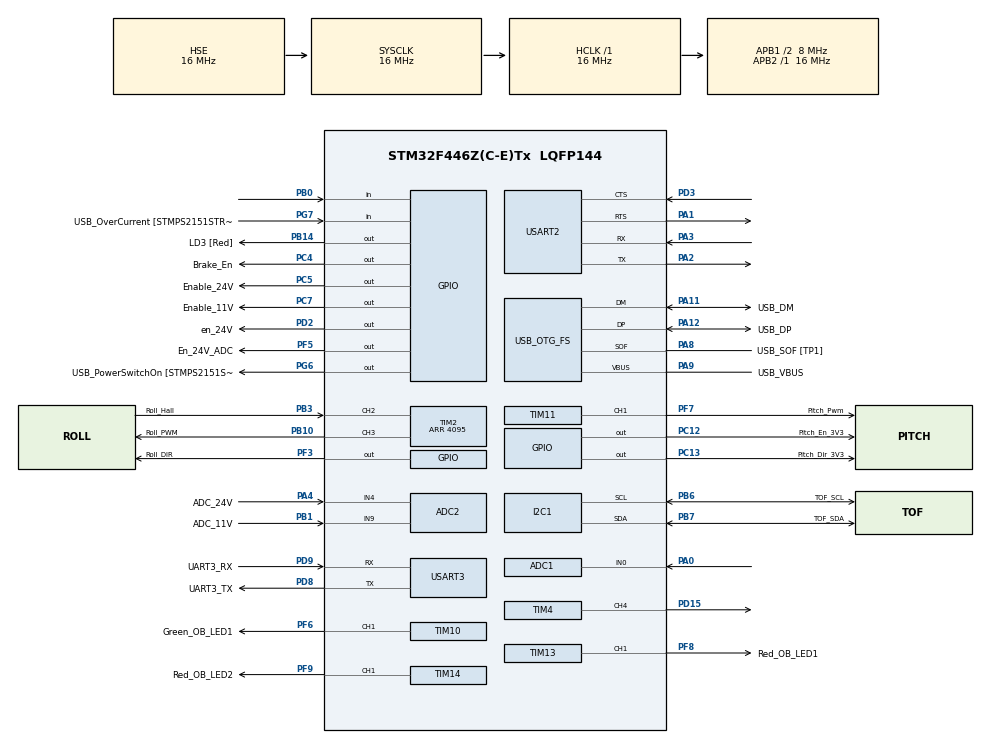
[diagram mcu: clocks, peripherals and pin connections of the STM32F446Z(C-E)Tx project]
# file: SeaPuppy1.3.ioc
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ADC1.Channel-1\#ChannelRegularConversion=ADC_CHANNEL_0
ADC1.ClockPrescaler=ADC_CLOCK_SYNC_PCLK_DIV6
ADC1.NbrOfConversionFlag=1
ADC1.Rank-1\#ChannelRegularConversion=1
ADC1.SamplingTime-1\#ChannelRegularConversion=ADC_SAMPLETIME_3CYCLES
ADC1.master=1
ADC2.Channel-4\#ChannelRegularConversion=ADC_CHANNEL_4
ADC2.ClockPrescaler=ADC_CLOCK_SYNC_PCLK_DIV6
ADC2.NbrOfConversionFlag=1
ADC2.Rank-4\#ChannelRegularConversion=1
ADC2.SamplingTime-4\#ChannelRegularConversion=ADC_SAMPLETIME_3CYCLES
Dma.Request0=USART3_RX
Dma.Request1=USART3_TX
Dma.USART3_RX.0.Direction=DMA_PERIPH_TO_MEMORY
Dma.USART3_RX.0.FIFOMode=DMA_FIFOMODE_DISABLE
Dma.USART3_RX.0.Instance=DMA1_Stream1
Dma.USART3_RX.0.MemDataAlignment=DMA_MDATAALIGN_BYTE
Dma.USART3_RX.0.MemInc=DMA_MINC_ENABLE
Dma.USART3_RX.0.Mode=DMA_CIRCULAR
Dma.USART3_RX.0.PeriphDataAlignment=DMA_PDATAALIGN_BYTE
Dma.USART3_RX.0.PeriphInc=DMA_PINC_DISABLE
Dma.USART3_RX.0.Priority=DMA_PRIORITY_VERY_HIGH
Dma.USART3_TX.1.Direction=DMA_MEMORY_TO_PERIPH
Dma.USART3_TX.1.FIFOMode=DMA_FIFOMODE_DISABLE
Dma.USART3_TX.1.Instance=DMA1_Stream3
Dma.USART3_TX.1.MemDataAlignment=DMA_MDATAALIGN_BYTE
Dma.USART3_TX.1.MemInc=DMA_MINC_ENABLE
Dma.USART3_TX.1.Mode=DMA_NORMAL
Dma.USART3_TX.1.PeriphDataAlignment=DMA_PDATAALIGN_BYTE
Dma.USART3_TX.1.PeriphInc=DMA_PINC_DISABLE
Dma.USART3_TX.1.Priority=DMA_PRIORITY_VERY_HIGH
FREERTOS.Tasks01=defaultTask,24,3000,StartDefaultTask,Default,NULL,Static,defaultTaskBuffer,defaultTaskControlBlock;task_ros_spin,40,3000,start_task_ros_spin,Default,NULL,Static,task_ros_spinBuffer,task_ros_spinControlBlock;task_sensors,8,128,start_task_sensors,Default,NULL,Static,task_sensorsBuffer,task_sensorsControlBlock;task_actuators,8,128,start_task_actuators,Default,NULL,Static,task_actuatorsBuffer,task_actuatorsControlBlock;task_watchdog,8,128,start_task_watchdog,Default,NULL,Static,task_watchdogBuffer,task_watchdogControlBlock
FREERTOS.configUSE_NEWLIB_REENTRANT=1
Mcu.Family=STM32F4
Mcu.Name=STM32F446Z(C-E)Tx
Mcu.Package=LQFP144
NVIC.DMA1_Stream1_IRQn=true\:5\:0\:false\:false\:true\:true\:false\:true\:true
NVIC.DMA1_Stream3_IRQn=true\:5\:0\:false\:false\:true\:true\:false\:true\:true
NVIC.I2C1_EV_IRQn=true\:5\:0\:false\:false\:true\:true\:true\:true\:true
NVIC.PriorityGroup=NVIC_PRIORITYGROUP_4
NVIC.TIM1_UP_TIM10_IRQn=true\:15\:0\:false\:false\:true\:false\:false\:true\:true
NVIC.TIM2_IRQn=true\:5\:0\:false\:false\:true\:true\:true\:true\:true
NVIC.TimeBase=TIM1_UP_TIM10_IRQn
NVIC.TimeBaseIP=TIM1
NVIC.USART3_IRQn=true\:5\:0\:false\:false\:true\:true\:true\:true\:true
PA0-WKUP.Signal=ADCx_IN0
PA1.Mode=CTS_RTS
PA1.Signal=USART2_RTS
PA11.GPIO_Label=USB_DM
PA11.Mode=Device_Only
PA11.Signal=USB_OTG_FS_DM
PA12.GPIO_Label=USB_DP
PA12.Mode=Device_Only
PA12.Signal=USB_OTG_FS_DP
PA13.GPIO_Label=TMS
PA13.Mode=Serial_Wire
PA13.Signal=SYS_JTMS-SWDIO
PA14.GPIO_Label=TCK
PA14.Mode=Serial_Wire
PA14.Signal=SYS_JTCK-SWCLK
PA2.Mode=Asynchronous
PA2.Signal=USART2_TX
PA3.Mode=Asynchronous
PA3.Signal=USART2_RX
PA4.GPIO_Label=ADC_24V
PA4.Signal=ADCx_IN4
PA8.GPIO_Label=USB_SOF [TP1]
PA8.Mode=Activate_SOF_FS
PA8.Signal=USB_OTG_FS_SOF
PA9.GPIO_Label=USB_VBUS
PA9.Mode=Activate_VBUS
PA9.Signal=USB_OTG_FS_VBUS
PB0.Signal=GPIO_Input
PB1.GPIO_Label=ADC_11V
PB1.Signal=ADCx_IN9
PB10.GPIO_Label=Roll_PWM
PB10.Signal=S_TIM2_CH3
PB14.GPIO_Label=LD3 [Red]
PB14.Signal=GPIO_Output
PB3.GPIO_Label=Roll_Hall
PB3.Signal=S_TIM2_CH2
PB6.GPIO_Label=TOF_SCL
PB6.Mode=I2C
PB6.Signal=I2C1_SCL
PB7.GPIO_Label=TOF_SDA
PB7.Mode=I2C
PB7.Signal=I2C1_SDA
PC12.GPIO_Label=Pitch_En_3V3
PC12.Signal=GPIO_Output
PC13.GPIO_Label=Pitch_Dir_3V3
PC13.Signal=GPIO_Output
PC14-OSC32_IN.Signal=RCC_OSC32_IN
PC15-OSC32_OUT.Signal=RCC_OSC32_OUT
PC4.GPIO_Label=Brake_En
PC4.Signal=GPIO_Output
PC5.GPIO_Label=Enable_24V
PC5.Signal=GPIO_Output
PC7.GPIO_Label=Enable_11V
PC7.Signal=GPIO_Output
PD15.Signal=S_TIM4_CH4
PD2.GPIO_Label=en_24V
PD2.Signal=GPIO_Output
PD3.Mode=CTS_RTS
PD3.Signal=USART2_CTS
PD8.GPIO_Label=UART3_TX
PD8.Mode=Asynchronous
PD8.Signal=USART3_TX
PD9.GPIO_Label=UART3_RX
PD9.Mode=Asynchronous
PD9.Signal=USART3_RX
PF3.GPIO_Label=Roll_DIR
PF3.Signal=GPIO_Output
PF5.GPIO_Label=En_24V_ADC
PF5.Signal=GPIO_Output
PF6.GPIO_Label=Green_OB_LED1
PF6.Signal=S_TIM10_CH1
PF7.GPIO_Label=Pitch_Pwm
PF7.Signal=S_TIM11_CH1
PF8.GPIO_Label=Red_OB_LED1
PF8.Signal=S_TIM13_CH1
PF9.GPIO_Label=Red_OB_LED2
PF9.Signal=S_TIM14_CH1
PG6.GPIO_Label=USB_PowerSwitchOn [STMPS2151STR_EN]
PG6.Signal=GPIO_Output
PG7.GPIO_Label=USB_OverCurrent [STMPS2151STR_FAULT]
PG7.Signal=GPIO_Input
PH0-OSC_IN.GPIO_Label=MCO [STM32F103CBT6_PA8]
PH0-OSC_IN.Mode=HSE-External-Oscillator
PH0-OSC_IN.Signal=RCC_OSC_IN
PH1-OSC_OUT.Mode=HSE-External-Oscillator
PH1-OSC_OUT.Signal=RCC_OSC_OUT
ProjectManager.HeapSize=0x200
ProjectManager.StackSize=0x400
ProjectManager.TargetToolchain=STM32CubeIDE
RCC.48MHZClocksFreq_Value=24000000
RCC.AHBFreq_Value=16000000
RCC.APB1CLKDivider=RCC_HCLK_DIV2
RCC.APB1Freq_Value=8000000
RCC.APB1TimFreq_Value=16000000
RCC.APB2Freq_Value=16000000
RCC.APB2TimFreq_Value=16000000
RCC.CortexFreq_Value=16000000
RCC.HCLKFreq_Value=16000000
RCC.HSE_VALUE=16000000
RCC.HSI_VALUE=16000000
RCC.PLLM=8
RCC.PLLMUL=RCC_PLL_MUL9
RCC.PLLN=72
RCC.PLLQ=3
RCC.PRESCALERUSB=RCC_USBCLKSOURCE_PLL_DIV1_5
RCC.SYSCLKFreq_VALUE=16000000
RCC.SYSCLKSource=RCC_SYSCLKSOURCE_HSE
RCC.SYSCLKSourceVirtual=RCC_SYSCLKSOURCE_PLLCLK
RCC.USBFreq_Value=48000000
RCC.VCOOutputFreq_Value=144000000
SH.ADCx_IN0.0=ADC1_IN0,IN0
SH.ADCx_IN4.0=ADC2_IN4,IN4
SH.ADCx_IN9.0=ADC2_IN9,IN9
SH.S_TIM10_CH1.0=TIM10_CH1,PWM Generation1 CH1
SH.S_TIM11_CH1.0=TIM11_CH1,PWM Generation1 CH1
SH.S_TIM13_CH1.0=TIM13_CH1,PWM Generation1 CH1
SH.S_TIM14_CH1.0=TIM14_CH1,PWM Generation1 CH1
SH.S_TIM2_CH2.0=TIM2_CH2,Input_Capture2_from_TI2
SH.S_TIM2_CH3.0=TIM2_CH3,PWM Generation3 CH3
SH.S_TIM4_CH4.0=TIM4_CH4,PWM Generation4 CH4
TIM10.Channel=TIM_CHANNEL_1
TIM11.Channel=TIM_CHANNEL_1
TIM13.Channel=TIM_CHANNEL_1
TIM14.Channel=TIM_CHANNEL_1
TIM2.AutoReloadPreload=TIM_AUTORELOAD_PRELOAD_ENABLE
TIM2.Channel-Input_Capture2_from_TI2=TIM_CHANNEL_2
TIM2.Channel-PWM\ Generation3\ CH3=TIM_CHANNEL_3
TIM2.Period=4095
TIM2.Pulse-PWM\ Generation3\ CH3=2047
TIM4.AutoReloadPreload=TIM_AUTORELOAD_PRELOAD_ENABLE
TIM4.Channel-PWM\ Generation4\ CH4=TIM_CHANNEL_4
USART2.VirtualMode=VM_ASYNC
USART3.VirtualMode=VM_ASYNC
USB_OTG_FS.VirtualMode=Device_Only
VP_FREERTOS_VS_CMSIS_V2.Mode=CMSIS_V2
VP_SYS_VS_tim1.Mode=TIM1
VP_TIM10_VS_ClockSourceINT.Mode=Enable_Timer
VP_TIM11_VS_ClockSourceINT.Mode=Enable_Timer
VP_TIM13_VS_ClockSourceINT.Mode=Enable_Timer
VP_TIM14_VS_ClockSourceINT.Mode=Enable_Timer
VP_TIM2_VS_ClockSourceINT.Mode=Internal
VP_TIM4_VS_ClockSourceINT.Mode=Internal
board=NUCLEO-F446ZE

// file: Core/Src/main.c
/* USER CODE BEGIN Header */
/**
  ******************************************************************************
  * @file           : main.c
  * @brief          : Main program body
  ******************************************************************************
  * @attention
  *
  * Copyright (c) 2025 STMicroelectronics.
  * All rights reserved.
  *
  * This software is licensed under terms that can be found in the LICENSE file
  * in the root directory of this software component.
  * If no LICENSE file comes with this software, it is provided AS-IS.
  *
  ******************************************************************************
  */
/* USER CODE END Header */
#include "main.h"
#include "cmsis_os.h"

/* USER CODE BEGIN Includes */

#include <rcl/error_handling.h>
#include <rcl/rcl.h>
#include <rclc/executor.h>
#include <rclc/rclc.h>
#include <rmw_microros/rmw_microros.h>
#include <rmw_microxrcedds_c/config.h>
#include <std_msgs/msg/int32.h>
#include <std_msgs/msg/string.h>
#include <std_msgs/msg/u_int16.h>
#include <uveec_custom_interfaces/msg/raspberry_sensors_interface.h>
#include <uveec_custom_interfaces/msg/stm_sensors_interface.h>
#include <uxr/client/transport.h>

// Micro-ROS definitions

// RCL return Check
#define RCCHECK(fn) { rcl_ret_t temp_rc = fn; if((temp_rc != RCL_RET_OK)){error_loop();}}
#define RCSOFTCHECK(fn) { rcl_ret_t temp_rc = fn; if((temp_rc != RCL_RET_OK)){error_loop();}}

// TOF sensor
#include "VL53L0X.h"
#include "stdio.h"
/* USER CODE END Includes */

typedef StaticTask_t osStaticThreadDef_t;

ADC_HandleTypeDef hadc1;
ADC_HandleTypeDef hadc2;

I2C_HandleTypeDef hi2c1;

TIM_HandleTypeDef htim2;
TIM_HandleTypeDef htim4;
TIM_HandleTypeDef htim10;
TIM_HandleTypeDef htim11;
TIM_HandleTypeDef htim13;
TIM_HandleTypeDef htim14;

UART_HandleTypeDef huart2;
UART_HandleTypeDef huart3;
DMA_HandleTypeDef hdma_usart3_rx;
DMA_HandleTypeDef hdma_usart3_tx;

PCD_HandleTypeDef hpcd_USB_OTG_FS;

/* Definitions for defaultTask */
osThreadId_t defaultTaskHandle;
uint32_t defaultTaskBuffer[ 3000 ];
osStaticThreadDef_t defaultTaskControlBlock;
const osThreadAttr_t defaultTask_attributes = {
  .name = "defaultTask",
  .cb_mem = &defaultTaskControlBlock,
  .cb_size = sizeof(defaultTaskControlBlock),
  .stack_mem = &defaultTaskBuffer[0],
  .stack_size = sizeof(defaultTaskBuffer),
  .priority = (osPriority_t) osPriorityNormal,
};
/* Definitions for task_ros_spin */
osThreadId_t task_ros_spinHandle;
uint32_t task_ros_spinBuffer[ 3000 ];
osStaticThreadDef_t task_ros_spinControlBlock;
const osThreadAttr_t task_ros_spin_attributes = {
  .name = "task_ros_spin",
  .cb_mem = &task_ros_spinControlBlock,
  .cb_size = sizeof(task_ros_spinControlBlock),
  .stack_mem = &task_ros_spinBuffer[0],
  .stack_size = sizeof(task_ros_spinBuffer),
  .priority = (osPriority_t) osPriorityHigh,
};
/* Definitions for task_sensors */
osThreadId_t task_sensorsHandle;
uint32_t task_sensorsBuffer[ 128 ];
osStaticThreadDef_t task_sensorsControlBlock;
const osThreadAttr_t task_sensors_attributes = {
  .name = "task_sensors",
  .cb_mem = &task_sensorsControlBlock,
  .cb_size = sizeof(task_sensorsControlBlock),
  .stack_mem = &task_sensorsBuffer[0],
  .stack_size = sizeof(task_sensorsBuffer),
  .priority = (osPriority_t) osPriorityLow,
};
/* Definitions for task_actuators */
osThreadId_t task_actuatorsHandle;
uint32_t task_actuatorsBuffer[ 128 ];
osStaticThreadDef_t task_actuatorsControlBlock;
const osThreadAttr_t task_actuators_attributes = {
  .name = "task_actuators",
  .cb_mem = &task_actuatorsControlBlock,
  .cb_size = sizeof(task_actuatorsControlBlock),
  .stack_mem = &task_actuatorsBuffer[0],
  .stack_size = sizeof(task_actuatorsBuffer),
  .priority = (osPriority_t) osPriorityLow,
};
/* Definitions for task_watchdog */
osThreadId_t task_watchdogHandle;
uint32_t task_watchdogBuffer[ 128 ];
osStaticThreadDef_t task_watchdogControlBlock;
const osThreadAttr_t task_watchdog_attributes = {
  .name = "task_watchdog",
  .cb_mem = &task_watchdogControlBlock,
  .cb_size = sizeof(task_watchdogControlBlock),
  .stack_mem = &task_watchdogBuffer[0],
  .stack_size = sizeof(task_watchdogBuffer),
  .priority = (osPriority_t) osPriorityLow,
};
/* USER CODE BEGIN PV */
rcl_node_t node;
rclc_support_t support;
rcl_allocator_t allocator;
rclc_executor_t executor;

// publisher
rcl_publisher_t publisher;

uveec_custom_interfaces__msg__StmSensorsInterface pub_msg;
rcl_timer_t timer;

// subscriber
rcl_subscription_t subscriber;
uveec_custom_interfaces__msg__RaspberrySensorsInterface sub_msg;

const unsigned int timer_period = RCL_MS_TO_NS(10);
const int timeout_ms = 1000;
const float min_tof_distance = 20;
const float max_tof_distance = 140;

int32_t blinkCounter = 5;
float depthsensor = 0;
float rollHull = 0;

volatile uint32_t last_ts = 0;
volatile uint32_t last_period = 0;
volatile uint32_t pulse_count = 0;
volatile float rpm = 0;

uint16_t distance;
int pitch_direction = 0;

/* USER CODE END PV */

void SystemClock_Config(void);
static void MX_GPIO_Init(void);
static void MX_DMA_Init(void);
static void MX_USART3_UART_Init(void);
static void MX_USB_OTG_FS_PCD_Init(void);
static void MX_TIM4_Init(void);
static void MX_ADC1_Init(void);
static void MX_USART2_UART_Init(void);
static void MX_I2C1_Init(void);
static void MX_TIM2_Init(void);
static void MX_ADC2_Init(void);
static void MX_TIM10_Init(void);
static void MX_TIM11_Init(void);
static void MX_TIM13_Init(void);
static void MX_TIM14_Init(void);
void StartDefaultTask(void *argument);
void start_task_ros_spin(void *argument);
void start_task_sensors(void *argument);
void start_task_actuators(void *argument);
void start_task_watchdog(void *argument);

/* USER CODE BEGIN PFP */
void subscription_callback(const void *msgin);

void error_loop(){}
/* USER CODE END PFP */

/* USER CODE BEGIN 0 */

// subscription_callback. Triggered by subscriber executor
void subscription_callback(const void * msgin)
{
  // Cast received message to used type
  // const std_msgs__msg__Int32 * msg = (const std_msgs__msg__Int32 *)msgin;
  const uveec_custom_interfaces__msg__RaspberrySensorsInterface * raspmsg = (const uveec_custom_interfaces__msg__RaspberrySensorsInterface *) msgin;

  // Process message
  // blinkCounter = msg->data;
  blinkCounter = (int) raspmsg->depthsensor;
  pub_msg.gpslatitude = (int) raspmsg->depthsensor;
}

void timer_callback(rcl_timer_t *timer, int64_t last_call_time) {
	// static uint8_t cnt = 0;

	// if (timer != NULL) {
		// Sync micro-ROS session
		// rmw_uros_sync_session(timeout_ms);

		// Toggle LED every 50 cycles (approximately every 0.5 seconds)
		// if (cnt == 0)
			// HAL_GPIO_TogglePin(LD2_GPIO_Port, LD2_Pin);
		// cnt = (cnt + 1) % 50;

		// pub_msg.data++;
		// TODO pub_msg.gpslatitude = 0;
		// TODO pub_msg.gpslongitude = 1;
		// TODO pub_msg.micropumpencoder = depthsensor;
		// TODO pub_msg.pitchencoder = 2;
		// TODO pub_msg.rollencoder = 3;

		// Publish the message
		// rcl_publish(&publisher, &pub_msg, NULL);
		// rcl_publish(&dist_publisher, &dist_msg, NULL);

		// Reinitialize watchdog timer
		// HAL_IWDG_Init(&hiwdg);
	// }
}

// Using TIM2_CH1 for FG signal
void HAL_TIM_IC_CaptureCallback(TIM_HandleTypeDef *htim) {
    if(htim->Channel == HAL_TIM_ACTIVE_CHANNEL_1) {
        static uint32_t lastCapture = 0;
        uint32_t now = HAL_TIM_ReadCapturedValue(htim, TIM_CHANNEL_1);
        uint32_t period = (now >= lastCapture) ? (now - lastCapture) : (0xFFFF - lastCapture + now);
        lastCapture = now;

        float freq = (float)HAL_RCC_GetPCLK1Freq() / (htim->Init.Prescaler + 1) / period;
        rpm = (60.0f * freq) / 9.0f;
        rpm = 1;
        // store rpm somewhere
    }
}

float get_angle_deg(void) {
    // coarse sector:
    uint32_t sector = (pulse_count % 9);
    // fraction interpolation:
    uint32_t now = HAL_GetTick();
    uint32_t elapsed = (now >= last_ts) ? (now - last_ts) : (0xFFFFFFFF - last_ts + now);
    float fraction = (last_period > 0) ? ((float)elapsed / (float)last_period) : 0.0f;
    if (fraction > 1.0f) fraction = 1.0f;
    return (int32_t) rpm;
}

int change_pitch_direction(int dir) {
	if (pitch_direction == 0 && dir == 1) { // pitch motor is getting closer to tof
		//HAL_TIM_PWM_Stop(&htim4, TIM_CHANNEL_4);
		HAL_TIM_PWM_Stop(&htim11, TIM_CHANNEL_1);
		osDelay(100);
		HAL_GPIO_WritePin(Pitch_Dir_3V3_GPIO_Port, Pitch_Dir_3V3_Pin, GPIO_PIN_SET);
		//HAL_GPIO_WritePin(LD1_GPIO_Port, LD1_Pin, GPIO_PIN_SET);
		osDelay(100);
		//HAL_TIM_PWM_Start(&htim4, TIM_CHANNEL_4);
		HAL_TIM_PWM_Start(&htim11, TIM_CHANNEL_1);
		pitch_direction = 1;
		return 1;
	} else if (pitch_direction == 1 && dir == 0) { // pitch motor is getting further from tof
		//HAL_TIM_PWM_Stop(&htim4, TIM_CHANNEL_4);
		HAL_TIM_PWM_Stop(&htim11, TIM_CHANNEL_1);
		osDelay(100);
		HAL_GPIO_WritePin(Pitch_Dir_3V3_GPIO_Port, Pitch_Dir_3V3_Pin, GPIO_PIN_RESET);
		//HAL_GPIO_WritePin(LD1_GPIO_Port, LD1_Pin, GPIO_PIN_RESET);
		osDelay(100);
		//HAL_TIM_PWM_Start(&htim4, TIM_CHANNEL_4);
		HAL_TIM_PWM_Start(&htim11, TIM_CHANNEL_1);
		pitch_direction = 0;
		return 0;
	}
	return -1;
}

/* USER CODE END 0 */

int main(void)
{

  /* USER CODE BEGIN 1 */
	blinkCounter = 10;

  /* USER CODE END 1 */

  /* MCU Configuration--------------------------------------------------------*/

  /* Reset of all peripherals, Initializes the Flash interface and the Systick. */
  HAL_Init();

  /* Configure the system clock */
  SystemClock_Config();

  /* Initialize all configured peripherals */
  MX_GPIO_Init();
  MX_DMA_Init();
  MX_USART3_UART_Init();
  MX_USB_OTG_FS_PCD_Init();
  MX_TIM4_Init();
  MX_ADC1_Init();
  MX_USART2_UART_Init();
  MX_I2C1_Init();
  MX_TIM2_Init();
  MX_ADC2_Init();
  MX_TIM10_Init();
  MX_TIM11_Init();
  MX_TIM13_Init();
  MX_TIM14_Init();
  /* USER CODE BEGIN 2 */

  //Onboard LED Green(D2)
  //HAL_TIM_PWM_Start(&htim11, TIM_CHANNEL_1);
  //TIM11->CCR1 = 0;

  //Onboard LED Red(D3)
  HAL_TIM_PWM_Start(&htim13, TIM_CHANNEL_1);
  TIM13->CCR1 = 0;
  //Onboard LED Red(D3)
  HAL_TIM_PWM_Start(&htim14, TIM_CHANNEL_1);
  TIM14->CCR1 = 0;

  /* USER CODE END 2 */

  /* Init scheduler */
  osKernelInitialize();

  /* Create the thread(s) */
  /* creation of defaultTask */
  defaultTaskHandle = osThreadNew(StartDefaultTask, NULL, &defaultTask_attributes);

  /* creation of task_ros_spin */
  task_ros_spinHandle = osThreadNew(start_task_ros_spin, NULL, &task_ros_spin_attributes);

  /* creation of task_sensors */
  task_sensorsHandle = osThreadNew(start_task_sensors, NULL, &task_sensors_attributes);

  /* creation of task_actuators */
  task_actuatorsHandle = osThreadNew(start_task_actuators, NULL, &task_actuators_attributes);

  /* creation of task_watchdog */
  task_watchdogHandle = osThreadNew(start_task_watchdog, NULL, &task_watchdog_attributes);

  /* Start scheduler */
  osKernelStart();

  /* We should never get here as control is now taken by the scheduler */

  /* Infinite loop */
  while (1)
  {

  }
}

void SystemClock_Config(void)
{
  RCC_OscInitTypeDef RCC_OscInitStruct = {0};
  RCC_ClkInitTypeDef RCC_ClkInitStruct = {0};

  /** Configure the main internal regulator output voltage
  */
  __HAL_RCC_PWR_CLK_ENABLE();
  __HAL_PWR_VOLTAGESCALING_CONFIG(PWR_REGULATOR_VOLTAGE_SCALE3);

  /** Initializes the RCC Oscillators according to the specified parameters
  * in the RCC_OscInitTypeDef structure.
  */
  RCC_OscInitStruct.OscillatorType = RCC_OSCILLATORTYPE_HSE;
  RCC_OscInitStruct.HSEState = RCC_HSE_ON;
  RCC_OscInitStruct.PLL.PLLState = RCC_PLL_ON;
  RCC_OscInitStruct.PLL.PLLSource = RCC_PLLSOURCE_HSE;
  RCC_OscInitStruct.PLL.PLLM = 8;
  RCC_OscInitStruct.PLL.PLLN = 72;
  RCC_OscInitStruct.PLL.PLLP = RCC_PLLP_DIV2;
  RCC_OscInitStruct.PLL.PLLQ = 3;
  RCC_OscInitStruct.PLL.PLLR = 2;
  if (HAL_RCC_OscConfig(&RCC_OscInitStruct) != HAL_OK)
  {
    Error_Handler();
  }

  /** Initializes the CPU, AHB and APB buses clocks
  */
  RCC_ClkInitStruct.ClockType = RCC_CLOCKTYPE_HCLK|RCC_CLOCKTYPE_SYSCLK
                              |RCC_CLOCKTYPE_PCLK1|RCC_CLOCKTYPE_PCLK2;
  RCC_ClkInitStruct.SYSCLKSource = RCC_SYSCLKSOURCE_HSE;
  RCC_ClkInitStruct.AHBCLKDivider = RCC_SYSCLK_DIV1;
  RCC_ClkInitStruct.APB1CLKDivider = RCC_HCLK_DIV2;
  RCC_ClkInitStruct.APB2CLKDivider = RCC_HCLK_DIV1;

  if (HAL_RCC_ClockConfig(&RCC_ClkInitStruct, FLASH_LATENCY_0) != HAL_OK)
  {
    Error_Handler();
  }
}

static void MX_ADC1_Init(void)
{

  ADC_ChannelConfTypeDef sConfig = {0};

  /** Configure the global features of the ADC (Clock, Resolution, Data Alignment and number of conversion)
  */
  hadc1.Instance = ADC1;
  hadc1.Init.ClockPrescaler = ADC_CLOCK_SYNC_PCLK_DIV6;
  hadc1.Init.Resolution = ADC_RESOLUTION_12B;
  hadc1.Init.ScanConvMode = DISABLE;
  hadc1.Init.ContinuousConvMode = DISABLE;
  hadc1.Init.DiscontinuousConvMode = DISABLE;
  hadc1.Init.ExternalTrigConvEdge = ADC_EXTERNALTRIGCONVEDGE_NONE;
  hadc1.Init.ExternalTrigConv = ADC_SOFTWARE_START;
  hadc1.Init.DataAlign = ADC_DATAALIGN_RIGHT;
  hadc1.Init.NbrOfConversion = 1;
  hadc1.Init.DMAContinuousRequests = DISABLE;
  hadc1.Init.EOCSelection = ADC_EOC_SINGLE_CONV;
  if (HAL_ADC_Init(&hadc1) != HAL_OK)
  {
    Error_Handler();
  }

  /** Configure for the selected ADC regular channel its corresponding rank in the sequencer and its sample time.
  */
  sConfig.Channel = ADC_CHANNEL_0;
  sConfig.Rank = 1;
  sConfig.SamplingTime = ADC_SAMPLETIME_3CYCLES;
  if (HAL_ADC_ConfigChannel(&hadc1, &sConfig) != HAL_OK)
  {
    Error_Handler();
  }

}

static void MX_ADC2_Init(void)
{

  ADC_ChannelConfTypeDef sConfig = {0};

  /** Configure the global features of the ADC (Clock, Resolution, Data Alignment and number of conversion)
  */
  hadc2.Instance = ADC2;
  hadc2.Init.ClockPrescaler = ADC_CLOCK_SYNC_PCLK_DIV6;
  hadc2.Init.Resolution = ADC_RESOLUTION_12B;
  hadc2.Init.ScanConvMode = DISABLE;
  hadc2.Init.ContinuousConvMode = DISABLE;
  hadc2.Init.DiscontinuousConvMode = DISABLE;
  hadc2.Init.ExternalTrigConvEdge = ADC_EXTERNALTRIGCONVEDGE_NONE;
  hadc2.Init.ExternalTrigConv = ADC_SOFTWARE_START;
  hadc2.Init.DataAlign = ADC_DATAALIGN_RIGHT;
  hadc2.Init.NbrOfConversion = 1;
  hadc2.Init.DMAContinuousRequests = DISABLE;
  hadc2.Init.EOCSelection = ADC_EOC_SINGLE_CONV;
  if (HAL_ADC_Init(&hadc2) != HAL_OK)
  {
    Error_Handler();
  }

  /** Configure for the selected ADC regular channel its corresponding rank in the sequencer and its sample time.
  */
  sConfig.Channel = ADC_CHANNEL_4;
  sConfig.Rank = 1;
  sConfig.SamplingTime = ADC_SAMPLETIME_3CYCLES;
  if (HAL_ADC_ConfigChannel(&hadc2, &sConfig) != HAL_OK)
  {
    Error_Handler();
  }

}

static void MX_I2C1_Init(void)
{

  hi2c1.Instance = I2C1;
  hi2c1.Init.ClockSpeed = 100000;
  hi2c1.Init.DutyCycle = I2C_DUTYCYCLE_2;
  hi2c1.Init.OwnAddress1 = 0;
  hi2c1.Init.AddressingMode = I2C_ADDRESSINGMODE_7BIT;
  hi2c1.Init.DualAddressMode = I2C_DUALADDRESS_DISABLE;
  hi2c1.Init.OwnAddress2 = 0;
  hi2c1.Init.GeneralCallMode = I2C_GENERALCALL_DISABLE;
  hi2c1.Init.NoStretchMode = I2C_NOSTRETCH_DISABLE;
  if (HAL_I2C_Init(&hi2c1) != HAL_OK)
  {
    Error_Handler();
  }

}

static void MX_TIM2_Init(void)
{

  TIM_ClockConfigTypeDef sClockSourceConfig = {0};
  TIM_MasterConfigTypeDef sMasterConfig = {0};
  TIM_IC_InitTypeDef sConfigIC = {0};
  TIM_OC_InitTypeDef sConfigOC = {0};

  htim2.Instance = TIM2;
  htim2.Init.Prescaler = 0;
  htim2.Init.CounterMode = TIM_COUNTERMODE_UP;
  htim2.Init.Period = 4095;
  htim2.Init.ClockDivision = TIM_CLOCKDIVISION_DIV1;
  htim2.Init.AutoReloadPreload = TIM_AUTORELOAD_PRELOAD_ENABLE;
  if (HAL_TIM_Base_Init(&htim2) != HAL_OK)
  {
    Error_Handler();
  }
  sClockSourceConfig.ClockSource = TIM_CLOCKSOURCE_INTERNAL;
  if (HAL_TIM_ConfigClockSource(&htim2, &sClockSourceConfig) != HAL_OK)
  {
    Error_Handler();
  }
  if (HAL_TIM_IC_Init(&htim2) != HAL_OK)
  {
    Error_Handler();
  }
  if (HAL_TIM_PWM_Init(&htim2) != HAL_OK)
  {
    Error_Handler();
  }
  sMasterConfig.MasterOutputTrigger = TIM_TRGO_RESET;
  sMasterConfig.MasterSlaveMode = TIM_MASTERSLAVEMODE_DISABLE;
  if (HAL_TIMEx_MasterConfigSynchronization(&htim2, &sMasterConfig) != HAL_OK)
  {
    Error_Handler();
  }
  sConfigIC.ICPolarity = TIM_INPUTCHANNELPOLARITY_RISING;
  sConfigIC.ICSelection = TIM_ICSELECTION_DIRECTTI;
  sConfigIC.ICPrescaler = TIM_ICPSC_DIV1;
  sConfigIC.ICFilter = 0;
  if (HAL_TIM_IC_ConfigChannel(&htim2, &sConfigIC, TIM_CHANNEL_2) != HAL_OK)
  {
    Error_Handler();
  }
  sConfigOC.OCMode = TIM_OCMODE_PWM1;
  sConfigOC.Pulse = 2047;
  sConfigOC.OCPolarity = TIM_OCPOLARITY_HIGH;
  sConfigOC.OCFastMode = TIM_OCFAST_DISABLE;
  if (HAL_TIM_PWM_ConfigChannel(&htim2, &sConfigOC, TIM_CHANNEL_3) != HAL_OK)
  {
    Error_Handler();
  }
  HAL_TIM_MspPostInit(&htim2);

}

static void MX_TIM4_Init(void)
{

  TIM_ClockConfigTypeDef sClockSourceConfig = {0};
  TIM_MasterConfigTypeDef sMasterConfig = {0};
  TIM_OC_InitTypeDef sConfigOC = {0};

  htim4.Instance = TIM4;
  htim4.Init.Prescaler = 0;
  htim4.Init.CounterMode = TIM_COUNTERMODE_UP;
  htim4.Init.Period = 65535;
  htim4.Init.ClockDivision = TIM_CLOCKDIVISION_DIV1;
  htim4.Init.AutoReloadPreload = TIM_AUTORELOAD_PRELOAD_ENABLE;
  if (HAL_TIM_Base_Init(&htim4) != HAL_OK)
  {
    Error_Handler();
  }
  sClockSourceConfig.ClockSource = TIM_CLOCKSOURCE_INTERNAL;
  if (HAL_TIM_ConfigClockSource(&htim4, &sClockSourceConfig) != HAL_OK)
  {
    Error_Handler();
  }
  if (HAL_TIM_PWM_Init(&htim4) != HAL_OK)
  {
    Error_Handler();
  }
  sMasterConfig.MasterOutputTrigger = TIM_TRGO_RESET;
  sMasterConfig.MasterSlaveMode = TIM_MASTERSLAVEMODE_DISABLE;
  if (HAL_TIMEx_MasterConfigSynchronization(&htim4, &sMasterConfig) != HAL_OK)
  {
    Error_Handler();
  }
  sConfigOC.OCMode = TIM_OCMODE_PWM1;
  sConfigOC.Pulse = 0;
  sConfigOC.OCPolarity = TIM_OCPOLARITY_HIGH;
  sConfigOC.OCFastMode = TIM_OCFAST_DISABLE;
  if (HAL_TIM_PWM_ConfigChannel(&htim4, &sConfigOC, TIM_CHANNEL_4) != HAL_OK)
  {
    Error_Handler();
  }
  HAL_TIM_MspPostInit(&htim4);

}

static void MX_TIM10_Init(void)
{

  TIM_OC_InitTypeDef sConfigOC = {0};

  htim10.Instance = TIM10;
  htim10.Init.Prescaler = 0;
  htim10.Init.CounterMode = TIM_COUNTERMODE_UP;
  htim10.Init.Period = 65535;
  htim10.Init.ClockDivision = TIM_CLOCKDIVISION_DIV1;
  htim10.Init.AutoReloadPreload = TIM_AUTORELOAD_PRELOAD_DISABLE;
  if (HAL_TIM_Base_Init(&htim10) != HAL_OK)
  {
    Error_Handler();
  }
  if (HAL_TIM_PWM_Init(&htim10) != HAL_OK)
  {
    Error_Handler();
  }
  sConfigOC.OCMode = TIM_OCMODE_PWM1;
  sConfigOC.Pulse = 0;
  sConfigOC.OCPolarity = TIM_OCPOLARITY_HIGH;
  sConfigOC.OCFastMode = TIM_OCFAST_DISABLE;
  if (HAL_TIM_PWM_ConfigChannel(&htim10, &sConfigOC, TIM_CHANNEL_1) != HAL_OK)
  {
    Error_Handler();
  }
  HAL_TIM_MspPostInit(&htim10);

}

static void MX_TIM11_Init(void)
{

  TIM_OC_InitTypeDef sConfigOC = {0};

  htim11.Instance = TIM11;
  htim11.Init.Prescaler = 0;
  htim11.Init.CounterMode = TIM_COUNTERMODE_UP;
  htim11.Init.Period = 65535;
  htim11.Init.ClockDivision = TIM_CLOCKDIVISION_DIV1;
  htim11.Init.AutoReloadPreload = TIM_AUTORELOAD_PRELOAD_DISABLE;
  if (HAL_TIM_Base_Init(&htim11) != HAL_OK)
  {
    Error_Handler();
  }
  if (HAL_TIM_PWM_Init(&htim11) != HAL_OK)
  {
    Error_Handler();
  }
  sConfigOC.OCMode = TIM_OCMODE_PWM1;
  sConfigOC.Pulse = 0;
  sConfigOC.OCPolarity = TIM_OCPOLARITY_HIGH;
  sConfigOC.OCFastMode = TIM_OCFAST_DISABLE;
  if (HAL_TIM_PWM_ConfigChannel(&htim11, &sConfigOC, TIM_CHANNEL_1) != HAL_OK)
  {
    Error_Handler();
  }
  HAL_TIM_MspPostInit(&htim11);

}

static void MX_TIM13_Init(void)
{

  TIM_OC_InitTypeDef sConfigOC = {0};

  htim13.Instance = TIM13;
  htim13.Init.Prescaler = 0;
  htim13.Init.CounterMode = TIM_COUNTERMODE_UP;
  htim13.Init.Period = 65535;
  htim13.Init.ClockDivision = TIM_CLOCKDIVISION_DIV1;
  htim13.Init.AutoReloadPreload = TIM_AUTORELOAD_PRELOAD_DISABLE;
  if (HAL_TIM_Base_Init(&htim13) != HAL_OK)
  {
    Error_Handler();
  }
  if (HAL_TIM_PWM_Init(&htim13) != HAL_OK)
  {
    Error_Handler();
  }
  sConfigOC.OCMode = TIM_OCMODE_PWM1;
  sConfigOC.Pulse = 0;
  sConfigOC.OCPolarity = TIM_OCPOLARITY_HIGH;
  sConfigOC.OCFastMode = TIM_OCFAST_DISABLE;
  if (HAL_TIM_PWM_ConfigChannel(&htim13, &sConfigOC, TIM_CHANNEL_1) != HAL_OK)
  {
    Error_Handler();
  }
  HAL_TIM_MspPostInit(&htim13);

}

static void MX_TIM14_Init(void)
{

  TIM_OC_InitTypeDef sConfigOC = {0};

  htim14.Instance = TIM14;
  htim14.Init.Prescaler = 0;
  htim14.Init.CounterMode = TIM_COUNTERMODE_UP;
  htim14.Init.Period = 65535;
  htim14.Init.ClockDivision = TIM_CLOCKDIVISION_DIV1;
  htim14.Init.AutoReloadPreload = TIM_AUTORELOAD_PRELOAD_DISABLE;
  if (HAL_TIM_Base_Init(&htim14) != HAL_OK)
  {
    Error_Handler();
  }
  if (HAL_TIM_PWM_Init(&htim14) != HAL_OK)
  {
    Error_Handler();
  }
  sConfigOC.OCMode = TIM_OCMODE_PWM1;
  sConfigOC.Pulse = 0;
  sConfigOC.OCPolarity = TIM_OCPOLARITY_HIGH;
  sConfigOC.OCFastMode = TIM_OCFAST_DISABLE;
  if (HAL_TIM_PWM_ConfigChannel(&htim14, &sConfigOC, TIM_CHANNEL_1) != HAL_OK)
  {
    Error_Handler();
  }
  HAL_TIM_MspPostInit(&htim14);

}

static void MX_USART2_UART_Init(void)
{

  huart2.Instance = USART2;
  huart2.Init.BaudRate = 115200;
  huart2.Init.WordLength = UART_WORDLENGTH_8B;
  huart2.Init.StopBits = UART_STOPBITS_1;
  huart2.Init.Parity = UART_PARITY_NONE;
  huart2.Init.Mode = UART_MODE_TX_RX;
  huart2.Init.HwFlowCtl = UART_HWCONTROL_RTS_CTS;
  huart2.Init.OverSampling = UART_OVERSAMPLING_16;
  if (HAL_UART_Init(&huart2) != HAL_OK)
  {
    Error_Handler();
  }

}

static void MX_USART3_UART_Init(void)
{

  huart3.Instance = USART3;
  huart3.Init.BaudRate = 115200;
  huart3.Init.WordLength = UART_WORDLENGTH_8B;
  huart3.Init.StopBits = UART_STOPBITS_1;
  huart3.Init.Parity = UART_PARITY_NONE;
  huart3.Init.Mode = UART_MODE_TX_RX;
  huart3.Init.HwFlowCtl = UART_HWCONTROL_NONE;
  huart3.Init.OverSampling = UART_OVERSAMPLING_16;
  if (HAL_UART_Init(&huart3) != HAL_OK)
  {
    Error_Handler();
  }

}

static void MX_USB_OTG_FS_PCD_Init(void)
{

  hpcd_USB_OTG_FS.Instance = USB_OTG_FS;
  hpcd_USB_OTG_FS.Init.dev_endpoints = 6;
  hpcd_USB_OTG_FS.Init.speed = PCD_SPEED_FULL;
  hpcd_USB_OTG_FS.Init.dma_enable = DISABLE;
  hpcd_USB_OTG_FS.Init.phy_itface = PCD_PHY_EMBEDDED;
  hpcd_USB_OTG_FS.Init.Sof_enable = ENABLE;
  hpcd_USB_OTG_FS.Init.low_power_enable = DISABLE;
  hpcd_USB_OTG_FS.Init.lpm_enable = DISABLE;
  hpcd_USB_OTG_FS.Init.vbus_sensing_enable = ENABLE;
  hpcd_USB_OTG_FS.Init.use_dedicated_ep1 = DISABLE;
  if (HAL_PCD_Init(&hpcd_USB_OTG_FS) != HAL_OK)
  {
    Error_Handler();
  }

}

static void MX_DMA_Init(void)
{

  /* DMA controller clock enable */
  __HAL_RCC_DMA1_CLK_ENABLE();

  /* DMA interrupt init */
  /* DMA1_Stream1_IRQn interrupt configuration */
  HAL_NVIC_SetPriority(DMA1_Stream1_IRQn, 5, 0);
  HAL_NVIC_EnableIRQ(DMA1_Stream1_IRQn);
  /* DMA1_Stream3_IRQn interrupt configuration */
  HAL_NVIC_SetPriority(DMA1_Stream3_IRQn, 5, 0);
  HAL_NVIC_EnableIRQ(DMA1_Stream3_IRQn);

}

static void MX_GPIO_Init(void)
{
  GPIO_InitTypeDef GPIO_InitStruct = {0};

  /* GPIO Ports Clock Enable */
  __HAL_RCC_GPIOC_CLK_ENABLE();
  __HAL_RCC_GPIOF_CLK_ENABLE();
  __HAL_RCC_GPIOH_CLK_ENABLE();
  __HAL_RCC_GPIOA_CLK_ENABLE();
  __HAL_RCC_GPIOB_CLK_ENABLE();
  __HAL_RCC_GPIOD_CLK_ENABLE();
  __HAL_RCC_GPIOG_CLK_ENABLE();

  /*Configure GPIO pin Output Level */
  HAL_GPIO_WritePin(GPIOC, Pitch_Dir_3V3_Pin|Brake_En_Pin|Enable_24V_Pin|Enable_11V_Pin
                          |Pitch_En_3V3_Pin, GPIO_PIN_RESET);

  /*Configure GPIO pin Output Level */
  HAL_GPIO_WritePin(GPIOF, Roll_DIR_Pin|En_24V_ADC_Pin, GPIO_PIN_RESET);

  /*Configure GPIO pin Output Level */
  HAL_GPIO_WritePin(LD3_GPIO_Port, LD3_Pin, GPIO_PIN_RESET);

  /*Configure GPIO pin Output Level */
  HAL_GPIO_WritePin(USB_PowerSwitchOn_GPIO_Port, USB_PowerSwitchOn_Pin, GPIO_PIN_RESET);

  /*Configure GPIO pin Output Level */
  HAL_GPIO_WritePin(en_24V_GPIO_Port, en_24V_Pin, GPIO_PIN_RESET);

  /*Configure GPIO pins : Pitch_Dir_3V3_Pin Brake_En_Pin Enable_24V_Pin Enable_11V_Pin
                           Pitch_En_3V3_Pin */
  GPIO_InitStruct.Pin = Pitch_Dir_3V3_Pin|Brake_En_Pin|Enable_24V_Pin|Enable_11V_Pin
                          |Pitch_En_3V3_Pin;
  GPIO_InitStruct.Mode = GPIO_MODE_OUTPUT_PP;
  GPIO_InitStruct.Pull = GPIO_NOPULL;
  GPIO_InitStruct.Speed = GPIO_SPEED_FREQ_LOW;
  HAL_GPIO_Init(GPIOC, &GPIO_InitStruct);

  /*Configure GPIO pins : Roll_DIR_Pin En_24V_ADC_Pin */
  GPIO_InitStruct.Pin = Roll_DIR_Pin|En_24V_ADC_Pin;
  GPIO_InitStruct.Mode = GPIO_MODE_OUTPUT_PP;
  GPIO_InitStruct.Pull = GPIO_NOPULL;
  GPIO_InitStruct.Speed = GPIO_SPEED_FREQ_LOW;
  HAL_GPIO_Init(GPIOF, &GPIO_InitStruct);

  /*Configure GPIO pin : PB0 */
  GPIO_InitStruct.Pin = GPIO_PIN_0;
  GPIO_InitStruct.Mode = GPIO_MODE_INPUT;
  GPIO_InitStruct.Pull = GPIO_NOPULL;
  HAL_GPIO_Init(GPIOB, &GPIO_InitStruct);

  /*Configure GPIO pin : LD3_Pin */
  GPIO_InitStruct.Pin = LD3_Pin;
  GPIO_InitStruct.Mode = GPIO_MODE_OUTPUT_PP;
  GPIO_InitStruct.Pull = GPIO_NOPULL;
  GPIO_InitStruct.Speed = GPIO_SPEED_FREQ_LOW;
  HAL_GPIO_Init(LD3_GPIO_Port, &GPIO_InitStruct);

  /*Configure GPIO pin : USB_PowerSwitchOn_Pin */
  GPIO_InitStruct.Pin = USB_PowerSwitchOn_Pin;
  GPIO_InitStruct.Mode = GPIO_MODE_OUTPUT_PP;
  GPIO_InitStruct.Pull = GPIO_NOPULL;
  GPIO_InitStruct.Speed = GPIO_SPEED_FREQ_LOW;
  HAL_GPIO_Init(USB_PowerSwitchOn_GPIO_Port, &GPIO_InitStruct);

  /*Configure GPIO pin : USB_OverCurrent_Pin */
  GPIO_InitStruct.Pin = USB_OverCurrent_Pin;
  GPIO_InitStruct.Mode = GPIO_MODE_INPUT;
  GPIO_InitStruct.Pull = GPIO_NOPULL;
  HAL_GPIO_Init(USB_OverCurrent_GPIO_Port, &GPIO_InitStruct);

  /*Configure GPIO pin : en_24V_Pin */
  GPIO_InitStruct.Pin = en_24V_Pin;
  GPIO_InitStruct.Mode = GPIO_MODE_OUTPUT_PP;
  GPIO_InitStruct.Pull = GPIO_NOPULL;
  GPIO_InitStruct.Speed = GPIO_SPEED_FREQ_LOW;
  HAL_GPIO_Init(en_24V_GPIO_Port, &GPIO_InitStruct);

}

/* USER CODE BEGIN 4 */
// Micro-ROS Cube MX definitions
bool cubemx_transport_open(struct uxrCustomTransport * transport);
bool cubemx_transport_close(struct uxrCustomTransport * transport);
size_t cubemx_transport_write(struct uxrCustomTransport* transport, const uint8_t * buf, size_t len, uint8_t * err);
size_t cubemx_transport_read(struct uxrCustomTransport* transport, uint8_t* buf, size_t len, int timeout, uint8_t* err);

void * microros_allocate(size_t size, void * state);
void microros_deallocate(void * pointer, void * state);
void * microros_reallocate(void * pointer, size_t size, void * state);
void * microros_zero_allocate(size_t number_of_elements, size_t size_of_element, void * state);

/* USER CODE END 4 */

void StartDefaultTask(void *argument)
{
  for(;;)
  {
	osDelay(1);
  }
}

void start_task_ros_spin(void *argument)
{
  /* USER CODE BEGIN start_task_ros_spin */

	  // micro-ROS configuration
  rmw_uros_set_custom_transport(
	true,
	(void *) &huart3,
	cubemx_transport_open,
	cubemx_transport_close,
	cubemx_transport_write,
	cubemx_transport_read);

  allocator = rcl_get_default_allocator();

  // pub_msg.data = 0;

  //create init_options
  RCCHECK(rclc_support_init(&support, 0, NULL, &allocator));

  // create node
  RCCHECK(rclc_node_init_default(&node, "cubemx_node", "", &support));

  // create publisher
  RCCHECK(rclc_publisher_init_default(
	&publisher,
	&node,
	ROSIDL_GET_MSG_TYPE_SUPPORT(uveec_custom_interfaces, msg, StmSensorsInterface),
	"stm_sensors_topic"));

  // create subscriber
  RCCHECK(rclc_subscription_init_default(
	&subscriber,
	&node,
	ROSIDL_GET_MSG_TYPE_SUPPORT(uveec_custom_interfaces, msg, RaspberrySensorsInterface),
	"raspberry_sensors_topic"));

  // create executor (subscribing)
  RCCHECK(rclc_executor_init(&executor, &support.context, 1, &allocator));
  RCCHECK(rclc_executor_add_subscription(&executor, &subscriber, &sub_msg, &subscription_callback, ON_NEW_DATA));

  pub_msg.gpslatitude = blinkCounter;

  // infintie loop. Might need to change this to use executors
  for(;;)
  {
	// publish to the topic
	rcl_ret_t ret = rcl_publish(&publisher, &pub_msg, NULL);
	if (ret != RCL_RET_OK)
	{
	  printf("Error publishing (line %d)\n", __LINE__);
	}

	// counter
	// TODO pub_msg.data++;
	osDelay(200);

	// spin executor to subscribe to topic
	RCCHECK(rclc_executor_spin_some(&executor, RCL_MS_TO_NS(100)));

	// blink the counter by the data received from the topic
	while (blinkCounter > 0)
	  {

		//HAL_GPIO_WritePin(LD2_GPIO_Port, LD2_Pin, GPIO_PIN_SET);
		//osDelay(200);
		//HAL_GPIO_WritePin(LD2_GPIO_Port, LD2_Pin, GPIO_PIN_RESET);
		//osDelay(200);
		//blinkCounter -= 1;
		blinkCounter -= 1;
	  }
  }
  /* USER CODE END start_task_ros_spin */
}

void start_task_sensors(void *argument)
{
  /* USER CODE BEGIN start_task_sensors */

  TickType_t xLastWakeTime;
  //50Hz polling frequency = run task every 1/50Hz = 20ms = 20 ticks
  const TickType_t xFrequency = 20;

  //Hal Sensor Setup??
  /*
  HAL_TIM_PWM_Start(&htim2, TIM_CHANNEL_3);
  while(HAL_GPIO_ReadPin(Roll_Hall_GPIO_Port, Roll_Hall_Pin) == GPIO_PIN_SET) {

  }
  htim2.Instance->CCR3 = 4095;
  HAL_TIM_PWM_Stop(&htim2, TIM_CHANNEL_3);
  HAL_GPIO_WritePin(LD3_GPIO_Port, LD3_Pin, GPIO_PIN_RESET);
	*/

  //Configure Draw Wire Sensor
  /*
   * Set the encoder mode:
	0x00:query mode，(default)
	0x01:Automatically return encoder angular velocity value,
	0xAA:Automatically return encoder value,
	Effective immediately after successful setting

	example:
	Issue:[0x04][0x01][0x04][0xAA]
	Return:[0x04][0x01][0x04][0x00]
	Setting mode:0xAA(automatic return mode)

   */

  // Initialise the VL53L0X TOF Sensor
  statInfo_t_VL53L0X distanceStr;

  TIM13->CCR1 = 0;

  osDelay(100);

  initVL53L0X(1, &hi2c1);

  // Configure the sensor for high accuracy and speed in 20 cm.
  setSignalRateLimit(200);
  setVcselPulsePeriod(VcselPeriodPreRange, 10);
  setVcselPulsePeriod(VcselPeriodFinalRange, 14);
  setMeasurementTimingBudget(300 * 1000UL);

  TIM13->CCR1 = 65535;

  // Initialise the xLastWakeTime variable with the current time.
  xLastWakeTime = xTaskGetTickCount ();

  for(;;)
  {
	// Wait for the next cycle.
	vTaskDelayUntil( &xLastWakeTime, xFrequency );
	//TIM13->CCR1 = 65535;
	osDelay(1);

	/* Read sensors */
	//TOF
	// uint16_t distance is the distance in millimeters.
	// statInfo_t_VL53L0X distanceStr is the statistics read from the sensor.
	distance = readRangeSingleMillimeters(&distanceStr);

	//TIM13->CCR1 = distance*2;

	pub_msg.pitchencoder = distance;
	//TIM13->CCR1 = 0;
  }
  /* USER CODE END start_task_sensors */
}

void start_task_actuators(void *argument)
{
  /* USER CODE BEGIN start_task_actuators */

  TickType_t xLastWakeTime;
  //50Hz polling frequency = run task every 1/100Hz = 10ms = 10 ticks
  const TickType_t xFrequency = 10;

  osDelay(5000);

  //Pitch Motor Actuation Setup
  HAL_GPIO_WritePin(Pitch_En_3V3_GPIO_Port, Pitch_En_3V3_Pin, GPIO_PIN_SET);

  HAL_GPIO_WritePin(en_24V_GPIO_Port, en_24V_Pin, GPIO_PIN_SET);

  change_pitch_direction(0);

  //HAL_TIM_PWM_Start(&htim4, TIM_CHANNEL_4);
  HAL_TIM_PWM_Start(&htim11, TIM_CHANNEL_1);
  TIM11->CCR1 = 65535/2;

  //TIM11->CCR1 = 10000;

  // Initialise the xLastWakeTime variable with the current time.
  xLastWakeTime = xTaskGetTickCount ();

  /* Infinite loop */
  for(;;)
  {
	  // Wait for the next cycle.
	  vTaskDelayUntil( &xLastWakeTime, xFrequency );

	  /*
	  osDelay(5000);
	  change_pitch_direction(1);
	  HAL_TIM_PWM_Stop(&htim11, TIM_CHANNEL_1);
	  osDelay(3000);
	  HAL_TIM_PWM_Start(&htim11, TIM_CHANNEL_1);
	  osDelay(5000);
	  change_pitch_direction(0);
	  HAL_TIM_PWM_Stop(&htim11, TIM_CHANNEL_1);
	  osDelay(3000);
	  HAL_TIM_PWM_Start(&htim11, TIM_CHANNEL_1);
	*/

	  // Actuators
	  if (distance < min_tof_distance) {
		  change_pitch_direction(1);
	  }
	  else if (distance > max_tof_distance) {
		  change_pitch_direction(0);
	  }
	  /*
	  if (HAL_GPIO_ReadPin(Usr_Btn_GPIO_Port, Usr_Btn_Pin) == GPIO_PIN_RESET) {
		  // Button is pressed
		  if (pitch_direction == 1) {
				  change_pitch_direction(0);
			  }
			  else if (pitch_direction == 0) {
				  change_pitch_direction(1);
			  }
	  }
	  */
	  //TIM14->CCR1 = 0;
  }
  /* USER CODE END start_task_actuators */
}

void start_task_watchdog(void *argument)
{
  for(;;)
  {
    osDelay(1);
  }
}

void HAL_TIM_PeriodElapsedCallback(TIM_HandleTypeDef *htim)
{
  if (htim->Instance == TIM1)
  {
    HAL_IncTick();
  }
}

void Error_Handler(void)
{
  __disable_irq();
  while (1)
  {
  }
}
